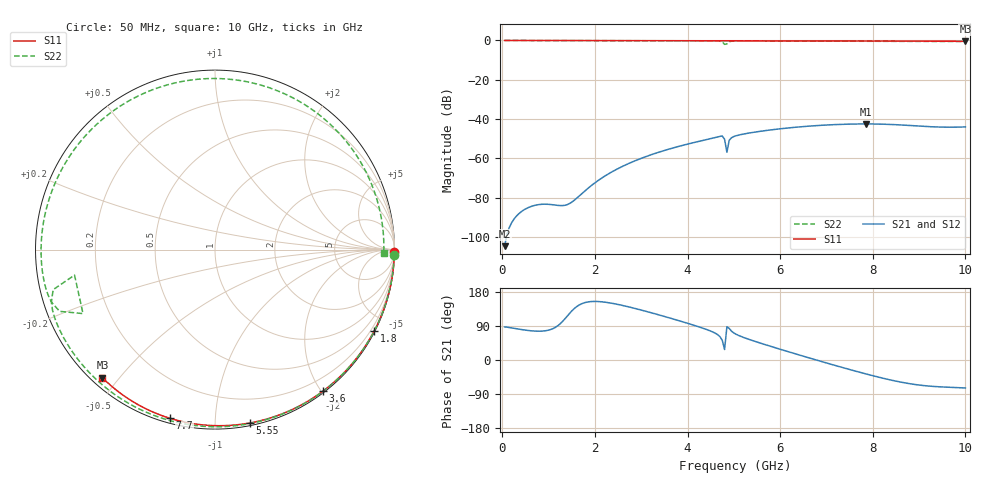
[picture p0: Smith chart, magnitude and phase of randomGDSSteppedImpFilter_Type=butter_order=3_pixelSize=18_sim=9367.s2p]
! freq	dB(S11)	phase(S11)	dB(S12)	phase(S12)
!  dB(S21)	phase(S21)	dB(S22)	phase(S22)
!S-par simulation data
#  GHz  S  DB  R 50
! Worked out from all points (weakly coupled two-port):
!   200 points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, 50 MHz to 10 GHz, reference 50 ohm
!   highest |S21| = -42.50 dB at 7.85 GHz (marker M1); lowest = -104.7 dB at 50 MHz (marker M2)
!   lowest |S11| = -0.4 dB at 10 GHz (marker M3), VSWR 39.21, Z = 1.54 - j22.6 ohm
!   |S11| at or under -10 dB: nowhere
!   |S22| runs from -2.0 to 0.0 dB; largest |S21 - S12| = 0
!   S11 on the Smith chart (normalised r, x): 50 MHz: open; 1.8 GHz: 0.04, -4.18; 3.6 GHz: 0.02, -2.02; 5.55 GHz: 0.02, -1.22; 7.7 GHz: 0.02, -0.77; 10 GHz: 0.03, -0.45
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0.05  -0.00 -0.8  -104.73 87.1  -104.73 87.1  -0.00 -1.9
0.75  -0.01 -11.3  -83.71 76.0  -83.71 76.0  -0.03 -27.2
1.6  -0.03 -24.0  -80.45 140.3  -80.45 140.3  -0.07 -57.1
1.75  -0.03 -26.2  -77.31 150.2  -77.31 150.2  -0.08 -62.3
1.8  -0.03 -26.9  -76.28 152.0  -76.28 152.0  -0.08 -64.0
2.5  -0.05 -37.1  -65.23 146.6  -65.23 146.6  -0.11 -87.5
3.4  -0.07 -49.8  -56.74 118.4  -56.74 118.4  -0.15 -116.9
3.6  -0.07 -52.6  -55.31 111.4  -55.31 111.4  -0.16 -123.3
4.4  -0.09 -63.5  -50.53 81.0  -50.53 81.0  -0.21 -149.7
4.75  -0.10 -68.2  -48.65 52.0  -48.65 52.0  -0.64 -166.1
4.8  -0.10 -68.9  -50.30 27.7  -50.30 27.7  -1.99 -169.7
4.85  -0.10 -69.5  -56.91 87.7  -56.91 87.7  -1.75 -154.1
4.9  -0.11 -70.2  -50.84 83.3  -50.84 83.3  -0.62 -158.3
5.05  -0.11 -72.1  -48.51 67.9  -48.51 67.9  -0.29 -167.0
5.55  -0.13 -78.6  -46.32 45.4  -46.32 45.4  -0.28 174.8
6.1  -0.15 -85.6  -44.72 24.7  -44.72 24.7  -0.31 155.4
6.7  -0.18 -93.0  -43.48 2.8  -43.48 2.8  -0.35 133.4
7.7  -0.24 -105.0  -42.52 -31.8  -42.52 -31.8  -0.41 94.0
7.85  -0.25 -106.7  -42.50 -36.7  -42.50 -36.7  -0.42 87.9
8.35  -0.29 -112.5  -42.73 -51.8  -42.73 -51.8  -0.44 67.0
9.2  -0.36 -122.3  -43.86 -68.7  -43.86 -68.7  -0.48 31.3
10  -0.44 -131.3  -44.02 -73.8  -44.02 -73.8  -0.53 -1.1
